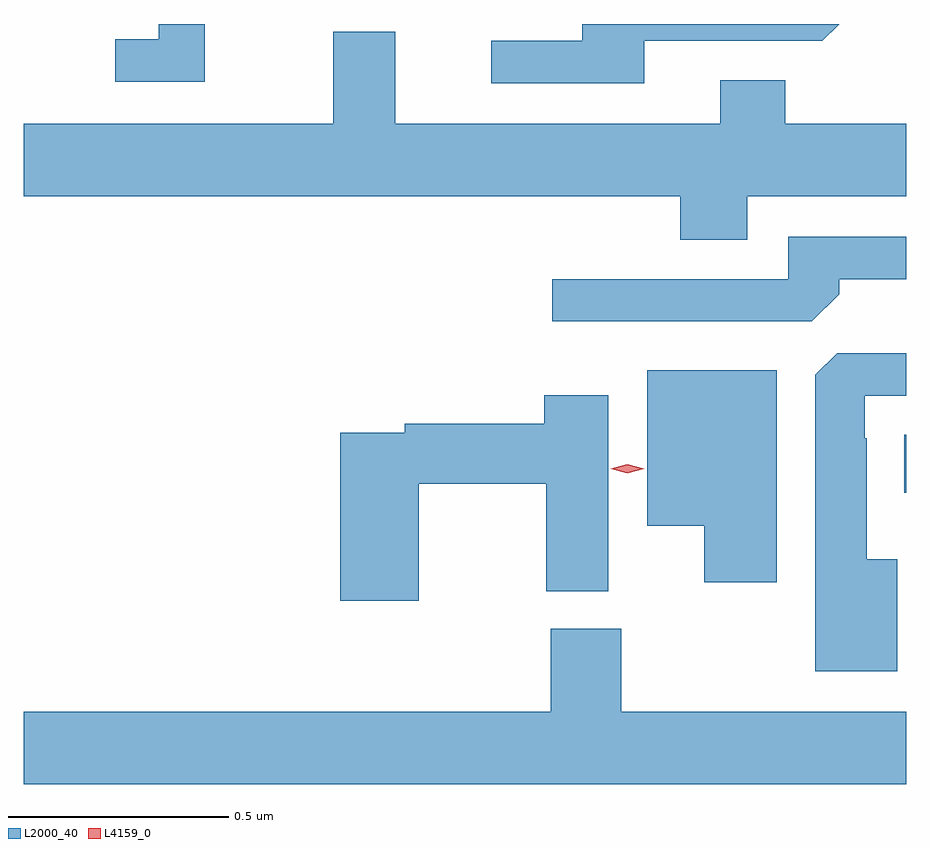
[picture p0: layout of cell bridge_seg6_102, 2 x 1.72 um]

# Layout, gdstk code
import gdstk
lib = gdstk.Library(unit=1e-6, precision=1e-09)
def R(c, l, rs):  # rectangles x0, y0, x1, y1
    for r in rs: c.add(gdstk.rectangle(r[:2], r[2:], *l))
def P(c, l, *ps):  # polygons
    for p in ps: c.add(gdstk.Polygon(p, *l))
L2000_40 = (2000, 40)
L4159_0 = (4159, 0)

bridge_seg6_102 = lib.new_cell('bridge_seg6_102')
R(bridge_seg6_102, L2000_40, [(702.74,917.36,702.745,917.491)])
P(bridge_seg6_102, L2000_40, [(701.155,918.422),(701.051,918.422),(701.051,918.387),(700.953,918.387),(700.953,918.291),(701.155,918.291)],
  [(702.151,918.384),(702.555,918.384),(702.593,918.422),(702.011,918.422),(702.011,918.384),(701.805,918.384),(701.805,918.288),(702.151,918.288)],
  [(702.385,918.032),(702.745,918.032),(702.745,918.196),(702.471,918.196),(702.471,918.295),(702.323,918.295),(702.323,918.196),(701.587,918.196),(701.587,918.404),(701.447,918.404),(701.447,918.196),(700.745,918.196),(700.745,918.032),(702.233,918.032),(702.233,917.933),(702.385,917.933)],
  [(702.593,917.81),(702.593,917.844),(702.745,917.844),(702.745,917.94),(702.477,917.94),(702.477,917.844),(701.943,917.844),(701.943,917.748),(702.531,917.748)],
  [(702.724,917.209),(702.655,917.209),(702.655,917.483),(702.651,917.483),(702.651,917.58),(702.745,917.58),(702.745,917.676),(702.588,917.676),(702.539,917.627),(702.539,916.955),(702.724,916.955)],
  [(702.451,917.638),(702.158,917.638),(702.158,917.285),(702.287,917.285),(702.287,917.157),(702.451,917.157)],
  [(701.64,917.38),(701.929,917.38),(701.929,917.137),(702.07,917.137),(702.07,917.581),(701.924,917.581),(701.924,917.516),(701.608,917.516),(701.608,917.496),(701.462,917.496),(701.462,917.115),(701.64,917.115)],
  [(702.745,916.864),(702.099,916.864),(702.099,917.052),(701.939,917.052),(701.939,916.864),(700.745,916.864),(700.745,916.7),(702.745,916.7)])
P(bridge_seg6_102, L4159_0, [(702.113,917.404),(702.075,917.414),(702.074,917.414),(702.075,917.414),(702.113,917.424),(702.151,917.414),(702.151,917.414),(702.151,917.414)])

lib.write_gds('bridge_seg6_102.gds')
